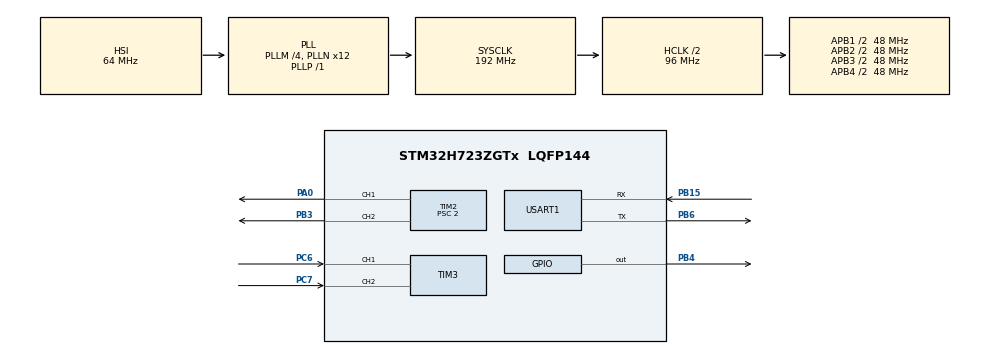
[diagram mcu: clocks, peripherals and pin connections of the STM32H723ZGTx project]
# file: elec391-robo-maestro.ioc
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CORTEX_M7.default_mode_Activation=1
Mcu.Family=STM32H7
Mcu.Name=STM32H723ZGTx
Mcu.Package=LQFP144
NUCLEO-H723ZG.BUTTON=0
NUCLEO-H723ZG.Bsp_Common_DEMO=true
NUCLEO-H723ZG.LD1=false
NUCLEO-H723ZG.LD2=false
NUCLEO-H723ZG.LD3=false
NUCLEO-H723ZG.VCP=true
NVIC.PriorityGroup=NVIC_PRIORITYGROUP_4
NVIC.TIM4_IRQn=true\:0\:0\:false\:false\:true\:true\:true\:true
PA0.Signal=S_TIM2_CH1_ETR
PA13(JTMS/SWDIO).GPIO_Label=SWDIO
PA13(JTMS/SWDIO).Signal=DEBUG_JTMS-SWDIO
PA14(JTCK/SWCLK).GPIO_Label=SWCLK
PA14(JTCK/SWCLK).Signal=DEBUG_JTCK-SWCLK
PB15.Mode=Asynchronous
PB15.Signal=USART1_RX
PB3(JTDO/TRACESWO).Signal=S_TIM2_CH2
PB4(NJTRST).Signal=GPIO_Output
PB6.Mode=Asynchronous
PB6.Signal=USART1_TX
PC14-OSC32_IN.Signal=RCC_OSC32_IN
PC15-OSC32_OUT.Signal=RCC_OSC32_OUT
PC6.Signal=S_TIM3_CH1
PC7.Signal=S_TIM3_CH2
PD8.Signal=USART3_TX
PD9.Signal=USART3_RX
ProjectManager.HeapSize=0x200
ProjectManager.StackSize=0x400
ProjectManager.TargetToolchain=EWARM V8.50
RCC.ADCFreq_Value=608000000
RCC.APB1Freq_Value=48000000
RCC.APB2Freq_Value=48000000
RCC.APB3Freq_Value=48000000
RCC.APB4Freq_Value=48000000
RCC.CortexFreq_Value=192000000
RCC.D1PPRE=RCC_APB3_DIV2
RCC.D2PPRE1=RCC_APB1_DIV2
RCC.D2PPRE2=RCC_APB2_DIV2
RCC.D3PPRE=RCC_APB4_DIV2
RCC.DIVM1=4
RCC.DIVM2=1
RCC.DIVN1=12
RCC.DIVN2=19
RCC.DIVP1=1
RCC.DIVQ1=4
RCC.HCLKFreq_Value=96000000
RCC.HPRE=RCC_HCLK_DIV2
RCC.HSE_VALUE=8000000
RCC.PLLFRACN=0
RCC.SYSCLKFreq_VALUE=192000000
RCC.SYSCLKSource=RCC_SYSCLKSOURCE_PLLCLK
RCC.USBCLockSelection=RCC_USBCLKSOURCE_HSI48
RCC.USBFreq_Value=48000000
SH.S_TIM2_CH1_ETR.0=TIM2_CH1,PWM Generation1 CH1
SH.S_TIM2_CH2.0=TIM2_CH2,PWM Generation2 CH2
SH.S_TIM3_CH1.0=TIM3_CH1,Encoder_Interface
SH.S_TIM3_CH2.0=TIM3_CH2,Encoder_Interface
TIM2.Channel-PWM\ Generation1\ CH1=TIM_CHANNEL_1
TIM2.Channel-PWM\ Generation2\ CH2=TIM_CHANNEL_2
TIM2.Period=31999
TIM2.Prescaler=2
TIM3.EncoderMode=TIM_ENCODERMODE_TI12
TIM4.AutoReloadPreload=TIM_AUTORELOAD_PRELOAD_ENABLE
TIM4.Period=999
TIM4.Prescaler=95
USART1.VirtualMode-Asynchronous=VM_ASYNC
VP_MEMORYMAP_VS_MEMORYMAP.Mode=CurAppReg
VP_NUCLEO-H723ZG_VS_BSP_COMMON.Mode=COMMON
VP_TIM4_VS_ClockSourceINT.Mode=Internal
board=NUCLEO-H723ZG

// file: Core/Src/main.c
/* USER CODE BEGIN Header */
/**
  ******************************************************************************
  * @file           : main.c
  * @brief          : Main program body
  ******************************************************************************
  * @attention
  *
  * Copyright (c) 2026 STMicroelectronics.
  * All rights reserved.
  *
  * This software is licensed under terms that can be found in the LICENSE file
  * in the root directory of this software component.
  * If no LICENSE file comes with this software, it is provided AS-IS.
  *
  ******************************************************************************
  */
/* USER CODE END Header */
#include "main.h"
#include "tim.h"
#include "usart.h"
#include "gpio.h"

/* USER CODE BEGIN Includes */
#include <stdlib.h>
#include <stdint.h>
#include <string.h>
#include <stdio.h>
#include <stdbool.h>
#include <math.h>
/* USER CODE END Includes */

COM_InitTypeDef BspCOMInit;
__IO uint32_t BspButtonState = BUTTON_RELEASED;

/* USER CODE BEGIN PV */
float Kp_displacement = 13.3f;
float Ki_displacement = 1.2f;
//float Kd = 1.2f;
float Kd_displacement = 1.5f;
float Kp_velocity = 0.6f;
float Ki_velocity = 5.0f;
uint8_t N = 25;
const float dt = 0.001f;
float countsToRad = (2.0f * M_PI) / 2797.0f;

float vel = 0.0f;
float maxVel = 2000.0f;
float maxAccel = 5000.0f;

MotorStruct Motor = {0};
volatile int16_t pos = 0;
volatile float delta = 0;
volatile int16_t prevPos = 0;
volatile float error_displacement = 0;
volatile float prevError_displacement = 0;
volatile float error_velocity = 0.0f;
volatile float prevError_velocity = 0.0f;
volatile float prop_displacement = 0.0f;
volatile float integral_displacement = 0.0f;
volatile float deriv_displacement = 0.0f;
volatile float prop_velocity = 0.0f;
volatile float integral_velocity = 0.0f;
volatile float prevDeriv_displacement = 0.0f;
volatile float PD_output = 0.0f;
volatile float output = 0.0f;
volatile float percent = 0.0f;
volatile float angularDisplacement = 0.0f;
volatile float angularVelocity = 0.0f;
volatile float rawVelocity = 0.0f;
int32_t target = 2000;
int32_t subTarget = 0;
float subTarget_f = 0.0f;
//float position_snap_tolerance = 3.0f;
bool enCtrl = true;
bool solenoidOn = false;

volatile uint32_t lastTimestamp = 0;
volatile uint32_t currentTimestamp = 0;

const Note notes[] = {
	{"C2", },
	{"D2", },
	{"E2", },
	{"F2", },
	{"G2", },
	{"A2", },
	{"B2", },
	{"C3", },
	{"D3", },
	{"E3", },
	{"F3", },
	{"G3", },
	{"A3", },
	{"B3", },
	{"C4", },
	{"D4", },
	{"E4", },
	{"F4", },
	{"G4", },
	{"A4", },
	{"B4", },
	{"C5", },
	{"D5", },
	{"E5", },
	{"F5", },
	{"G5", },
	{"A5", },
	{"B5", },
	{"C6", },
	{"D6", },
	{"E6", },
	{"F6", }
};

/* USER CODE END PV */

void SystemClock_Config(void);
static void MPU_Config(void);
/* USER CODE BEGIN PFP */
bool Home(void);
void RateLimiter(int32_t target);
void HAL_TIM_PeriodElapsedCallback(TIM_HandleTypeDef *htim);
void MotorForward(void);
void MotorBackward(void);
void MotorStop(void);
//void SolenoidPress(int pressTime_ms);
void MotorSetSpeedPercentCh1(float percent);
void MotorSetSpeedPercentCh2(float percent);
/* USER CODE END PFP */

int main(void)
{

  /* MPU Configuration--------------------------------------------------------*/
  MPU_Config();

  /* MCU Configuration--------------------------------------------------------*/

  /* Reset of all peripherals, Initializes the Flash interface and the Systick. */
  HAL_Init();

  /* Configure the system clock */
  SystemClock_Config();

  /* Initialize all configured peripherals */
  MX_GPIO_Init();
  MX_TIM2_Init();
  MX_USART1_UART_Init();
  MX_TIM3_Init();
  MX_TIM4_Init();
  /* USER CODE BEGIN 2 */
  HAL_TIM_PWM_Start(&HTIM_MOTOR, TIM_CHANNEL_MOTOR_A);
  HAL_TIM_PWM_Start(&HTIM_MOTOR, TIM_CHANNEL_MOTOR_B);
  HAL_TIM_Base_Start(&HTIM_MOTOR);
  HAL_TIM_Encoder_Start(&HTIM_ENCODER, TIM_CHANNEL_ALL);
  HAL_TIM_Base_Start_IT(&HTIM_PID);
  MotorSetSpeedPercentCh1(0);
  MotorSetSpeedPercentCh2(0);
  //__HAL_TIM_MOE_ENABLE(&htim1);
  //__HAL_TIM_SET_COMPARE(&htim2, TIM_CHANNEL_2, 999);

  /* USER CODE END 2 */

  /* Initialize COM1 port (115200, 8 bits (7-bit data + 1 stop bit), no parity */
  BspCOMInit.BaudRate   = 115200;
  BspCOMInit.WordLength = COM_WORDLENGTH_8B;
  BspCOMInit.StopBits   = COM_STOPBITS_1;
  BspCOMInit.Parity     = COM_PARITY_NONE;
  BspCOMInit.HwFlowCtl  = COM_HWCONTROL_NONE;
  if (BSP_COM_Init(COM1, &BspCOMInit) != BSP_ERROR_NONE)
  {
    Error_Handler();
  }

  /* USER CODE BEGIN BSP */

  /* -- Sample board code to send message over COM1 port ---- */
  printf("Welcome to STM32 world !\n\r");

  /* USER CODE END BSP */

  /* Infinite loop */
  /* USER CODE BEGIN WHILE */
  uint32_t lastPrint = 0;
  printf("\033[2J\033[H");
  while (1)
  {
	uint32_t now = HAL_GetTick();
	if (now - lastPrint >= 100)   // every 100 ms
		{
			lastPrint = HAL_GetTick();
			//printf("Pos=%ld  d=%ld  deriv=%lf  int=%lf  out=%lf  err=%ld  prevErr=%ld\r\n", pos, delta, deriv, integral, output, error, prevError);
			if (now < 10000) {
				printf("%ld,%d,%ld,%lf,%lf,%lf,%lf,%lf\r\n", now, pos, subTarget, prop_displacement, integral_displacement, deriv_displacement, angularVelocity, output);
			}
		}

	if (now >= 2000) {
		target = 300;
	}

	if (now >= 4000) {
		target = 1000;
	}

	if (now >= 6000) {
		target = 3000;
	}

    /* USER CODE END WHILE */

  }
}

void SystemClock_Config(void)
{
  RCC_OscInitTypeDef RCC_OscInitStruct = {0};
  RCC_ClkInitTypeDef RCC_ClkInitStruct = {0};

  /** Supply configuration update enable
  */
  HAL_PWREx_ConfigSupply(PWR_LDO_SUPPLY);

  /** Configure the main internal regulator output voltage
  */
  __HAL_PWR_VOLTAGESCALING_CONFIG(PWR_REGULATOR_VOLTAGE_SCALE2);

  while(!__HAL_PWR_GET_FLAG(PWR_FLAG_VOSRDY)) {}

  /** Initializes the RCC Oscillators according to the specified parameters
  * in the RCC_OscInitTypeDef structure.
  */
  RCC_OscInitStruct.OscillatorType = RCC_OSCILLATORTYPE_HSI;
  RCC_OscInitStruct.HSIState = RCC_HSI_DIV1;
  RCC_OscInitStruct.HSICalibrationValue = 64;
  RCC_OscInitStruct.PLL.PLLState = RCC_PLL_ON;
  RCC_OscInitStruct.PLL.PLLSource = RCC_PLLSOURCE_HSI;
  RCC_OscInitStruct.PLL.PLLM = 4;
  RCC_OscInitStruct.PLL.PLLN = 12;
  RCC_OscInitStruct.PLL.PLLP = 1;
  RCC_OscInitStruct.PLL.PLLQ = 4;
  RCC_OscInitStruct.PLL.PLLR = 2;
  RCC_OscInitStruct.PLL.PLLRGE = RCC_PLL1VCIRANGE_3;
  RCC_OscInitStruct.PLL.PLLVCOSEL = RCC_PLL1VCOWIDE;
  RCC_OscInitStruct.PLL.PLLFRACN = 0;
  if (HAL_RCC_OscConfig(&RCC_OscInitStruct) != HAL_OK)
  {
    Error_Handler();
  }

  /** Initializes the CPU, AHB and APB buses clocks
  */
  RCC_ClkInitStruct.ClockType = RCC_CLOCKTYPE_HCLK|RCC_CLOCKTYPE_SYSCLK
                              |RCC_CLOCKTYPE_PCLK1|RCC_CLOCKTYPE_PCLK2
                              |RCC_CLOCKTYPE_D3PCLK1|RCC_CLOCKTYPE_D1PCLK1;
  RCC_ClkInitStruct.SYSCLKSource = RCC_SYSCLKSOURCE_PLLCLK;
  RCC_ClkInitStruct.SYSCLKDivider = RCC_SYSCLK_DIV1;
  RCC_ClkInitStruct.AHBCLKDivider = RCC_HCLK_DIV2;
  RCC_ClkInitStruct.APB3CLKDivider = RCC_APB3_DIV2;
  RCC_ClkInitStruct.APB1CLKDivider = RCC_APB1_DIV2;
  RCC_ClkInitStruct.APB2CLKDivider = RCC_APB2_DIV2;
  RCC_ClkInitStruct.APB4CLKDivider = RCC_APB4_DIV2;

  if (HAL_RCC_ClockConfig(&RCC_ClkInitStruct, FLASH_LATENCY_1) != HAL_OK)
  {
    Error_Handler();
  }
}

/* USER CODE BEGIN 4 */

bool Home(void) {
	enCtrl = false; // disable PID control loop
	MotorSetSpeedPercentCh1(0);
	MotorSetSpeedPercentCh2(0);
	HAL_Delay(1000);

	while (1) {
		MotorBackward();
		MotorSetSpeedPercentCh1(0);
		MotorSetSpeedPercentCh2(50);

		if (HAL_GPIO_ReadPin(HOME_PORT, HOME_PIN)) {
			MotorStop();
			MotorSetSpeedPercentCh1(0);
			MotorSetSpeedPercentCh2(0);
			HAL_Delay(500);
			pos = 0; // reset encoder value to 0
			break;
		}
	}

	enCtrl = true;
	HAL_Delay(1000);

	return true;
}

void RateLimiter(int32_t finalTarget) {
    float maxChangeCounts = 7.12f;  // 16 rad/s × (2797/2π) × 0.001s

    float remaining = (float)finalTarget - subTarget_f;

    if (remaining > maxChangeCounts) {
        subTarget_f += maxChangeCounts;
    } else if (remaining < -maxChangeCounts) {
        subTarget_f -= maxChangeCounts;
    } else {
        subTarget_f = (float)finalTarget;
    }

    subTarget = (int32_t)subTarget_f;
}

void HAL_TIM_PeriodElapsedCallback(TIM_HandleTypeDef *htim) {
	//float INT_MAX = 100.0f / Ki;
	if (htim == &HTIM_PID) {
		pos = (int16_t)__HAL_TIM_GET_COUNTER(&HTIM_ENCODER);
		delta = (int16_t)(pos - prevPos);
		prevPos = pos;

		if (enCtrl) {
			// PID controller method: Backwards Euler
			// sampling frequency f = 1kHz --> sampling period dt = 0.001 s
			// Integral term = i = dt * (z / (z - 1)) --> step response u[n] at each dt
			// Derivative term = d = N / (1 + N*dt*(z / (z-1)))

			// input the rate limiter output into the PID controller
			RateLimiter(target);

			error_displacement = (subTarget - pos)*countsToRad;
			prop_displacement = Kp_displacement * error_displacement;

			deriv_displacement = (prevDeriv_displacement + Kd_displacement * N * (error_displacement - prevError_displacement)) / (1.0f + N * dt);

			PD_output = prop_displacement + deriv_displacement;

			prevError_displacement = error_displacement;
			prevDeriv_displacement = deriv_displacement;

			// Integral anti-windup
			/*
			if (integral > INT_MAX) {
				integral = INT_MAX;
			}
			else if (integral < -INT_MAX) {
				integral = -INT_MAX;
			}
			*/

			rawVelocity = (float)(delta / dt) * countsToRad;
			angularVelocity = 0.8f * angularVelocity + 0.2f * rawVelocity;
			error_velocity = PD_output - angularVelocity;

			prop_velocity = Kp_velocity * error_velocity;
			integral_velocity += Ki_velocity * error_velocity * dt;

			output = prop_velocity + integral_velocity;

			// Clamp output
			if (output > 100.0f) {
				output = 100.0f;
			}
			else if (output < -100.0f) {
				output = -100.0f;
			}

			// Implement dead-zone (tolerance) to reset derivative and integral terms to 0

			if (abs(target - pos) < 30) {
				prevError_displacement = 0.0f;
				//integral = 0.0f;
				//deriv = 0.0f;
				prevDeriv_displacement = 0.0f;
				MotorSetSpeedPercentCh1(0);
				MotorSetSpeedPercentCh2(0);
				//if (abs(target-pos) < 10) {
				prop_displacement = 0.0f;
				integral_velocity = 0.0f;
				output = 0.0f;
				//}
			} else {
				// Switch direction depending on output sign
				if (output > 0.0f) {
					MotorSetSpeedPercentCh1(output);
					MotorSetSpeedPercentCh2(0);
				}
				else if (output < 0.0f) {
					MotorSetSpeedPercentCh1(0);
					MotorSetSpeedPercentCh2(output * -1.0f);
				}
				else {
					MotorSetSpeedPercentCh1(0);
					MotorSetSpeedPercentCh2(0);
				}
			}
		}

	}
}

void MotorForward(void) {
	HAL_GPIO_WritePin(MOTOR_IN1_PORT, MOTOR_IN1_PIN, GPIO_PIN_SET);
	HAL_GPIO_WritePin(MOTOR_IN2_PORT, MOTOR_IN2_PIN, GPIO_PIN_RESET);
}

void MotorBackward(void) {
	HAL_GPIO_WritePin(MOTOR_IN1_PORT, MOTOR_IN1_PIN, GPIO_PIN_RESET);
	HAL_GPIO_WritePin(MOTOR_IN2_PORT, MOTOR_IN2_PIN, GPIO_PIN_SET);
}

void MotorStop(void) {
	HAL_GPIO_WritePin(MOTOR_IN1_PORT, MOTOR_IN1_PIN, GPIO_PIN_RESET);
	HAL_GPIO_WritePin(MOTOR_IN2_PORT, MOTOR_IN2_PIN, GPIO_PIN_RESET);
}

void MotorSetSpeedPercentCh1(float percent) {
    if(percent > 100) percent = 100;
    uint32_t speed = (percent / 100.0) * 63999;
    __HAL_TIM_SET_COMPARE(&HTIM_MOTOR, TIM_CHANNEL_1, speed);
}

void MotorSetSpeedPercentCh2(float percent) {
	if(percent > 100) percent = 100;
	uint32_t speed = (percent / 100.0) * 63999;
	__HAL_TIM_SET_COMPARE(&HTIM_MOTOR, TIM_CHANNEL_2, speed);
}

/*
void SolenoidPress(int pressTime_ms) {
	uint32_t startTime = HAL_GetTick();
	solenoidOn = true;

	HAL_GPIO_WritePin(SOLENOID_1_PORT, SOLENOID_1_PIN, GPIO_PIN_SET);

	if (HAL_GetTick() - startTime > pressTime_ms) {
		HAL_GPIO_WritePin(SOLENOID_1_PORT, SOLENOID_1_PIN, GPIO_PIN_RESET);
	}
}

*/

/* USER CODE END 4 */

 /* MPU Configuration */

void MPU_Config(void)
{
  MPU_Region_InitTypeDef MPU_InitStruct = {0};

  /* Disables the MPU */
  HAL_MPU_Disable();

  /** Initializes and configures the Region and the memory to be protected
  */
  MPU_InitStruct.Enable = MPU_REGION_ENABLE;
  MPU_InitStruct.Number = MPU_REGION_NUMBER0;
  MPU_InitStruct.BaseAddress = 0x0;
  MPU_InitStruct.Size = MPU_REGION_SIZE_4GB;
  MPU_InitStruct.SubRegionDisable = 0x87;
  MPU_InitStruct.TypeExtField = MPU_TEX_LEVEL0;
  MPU_InitStruct.AccessPermission = MPU_REGION_NO_ACCESS;
  MPU_InitStruct.DisableExec = MPU_INSTRUCTION_ACCESS_DISABLE;
  MPU_InitStruct.IsShareable = MPU_ACCESS_SHAREABLE;
  MPU_InitStruct.IsCacheable = MPU_ACCESS_NOT_CACHEABLE;
  MPU_InitStruct.IsBufferable = MPU_ACCESS_NOT_BUFFERABLE;

  HAL_MPU_ConfigRegion(&MPU_InitStruct);
  /* Enables the MPU */
  HAL_MPU_Enable(MPU_PRIVILEGED_DEFAULT);

}

void Error_Handler(void)
{
  __disable_irq();
  while (1)
  {
  }
}
